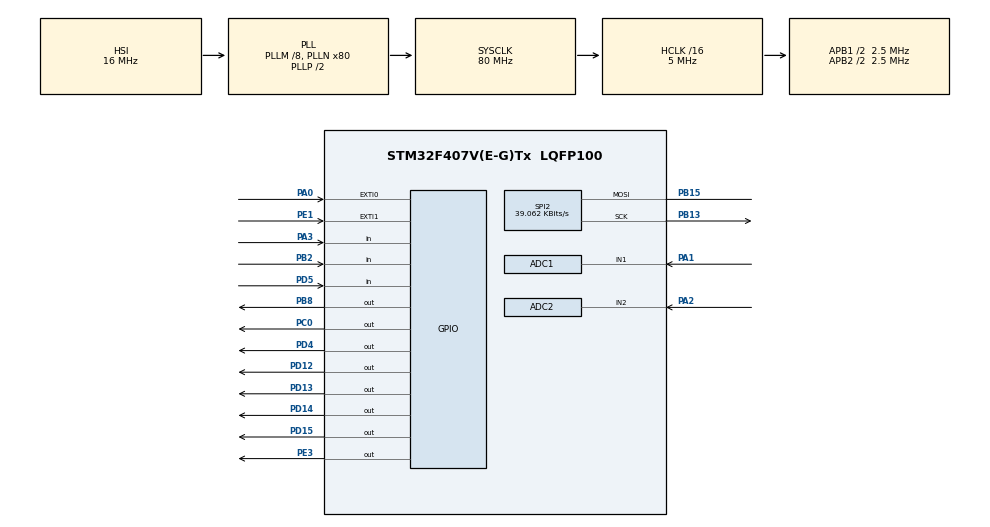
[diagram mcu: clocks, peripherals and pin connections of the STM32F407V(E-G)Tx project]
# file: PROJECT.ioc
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ADC1.Channel-0\#ChannelRegularConversion=ADC_CHANNEL_1
ADC1.NbrOfConversionFlag=1
ADC1.Rank-0\#ChannelRegularConversion=1
ADC1.SamplingTime-0\#ChannelRegularConversion=ADC_SAMPLETIME_3CYCLES
ADC1.master=1
ADC2.Channel-0\#ChannelRegularConversion=ADC_CHANNEL_2
ADC2.NbrOfConversionFlag=1
ADC2.Rank-0\#ChannelRegularConversion=1
ADC2.SamplingTime-0\#ChannelRegularConversion=ADC_SAMPLETIME_3CYCLES
Mcu.Family=STM32F4
Mcu.Name=STM32F407V(E-G)Tx
Mcu.Package=LQFP100
NVIC.PriorityGroup=NVIC_PRIORITYGROUP_0
PA0-WKUP.GPIO_ModeDefaultEXTI=GPIO_MODE_IT_RISING
PA0-WKUP.GPIO_PuPd=GPIO_NOPULL
PA0-WKUP.Signal=GPXTI0
PA1.Signal=ADCx_IN1
PA10.GPIO_Mode=GPIO_MODE_AF_PP
PA10.GPIO_PuPd=GPIO_NOPULL
PA10.GPIO_Speed=GPIO_SPEED_FREQ_VERY_HIGH
PA10.Signal=USB_OTG_FS_ID
PA11.GPIO_Mode=GPIO_MODE_AF_PP
PA11.GPIO_PuPd=GPIO_NOPULL
PA11.GPIO_Speed=GPIO_SPEED_FREQ_VERY_HIGH
PA11.Signal=USB_OTG_FS_DM
PA12.GPIO_Mode=GPIO_MODE_AF_PP
PA12.GPIO_PuPd=GPIO_NOPULL
PA12.GPIO_Speed=GPIO_SPEED_FREQ_VERY_HIGH
PA12.Signal=USB_OTG_FS_DP
PA13.Signal=SYS_JTMS-SWDIO
PA14.Signal=SYS_JTCK-SWCLK
PA2.Signal=ADCx_IN2
PA3.Signal=GPIO_Input
PA4.GPIO_Mode=GPIO_MODE_AF_PP
PA4.GPIO_PuPd=GPIO_NOPULL
PA4.GPIO_Speed=GPIO_SPEED_FREQ_LOW
PA4.Signal=I2S3_WS
PA5.GPIO_Mode=GPIO_MODE_AF_PP
PA5.GPIO_PuPd=GPIO_NOPULL
PA5.GPIO_Speed=GPIO_SPEED_FREQ_VERY_HIGH
PA5.Signal=SPI1_SCK
PA9.GPIO_Mode=GPIO_MODE_INPUT
PA9.GPIO_PuPd=GPIO_NOPULL
PA9.Signal=USB_OTG_FS_VBUS
PB10.GPIO_Mode=GPIO_MODE_AF_PP
PB10.GPIO_PuPd=GPIO_NOPULL
PB10.GPIO_Speed=GPIO_SPEED_FREQ_LOW
PB10.Signal=I2S2_CK
PB13.GPIO_Mode=GPIO_MODE_AF_PP
PB13.GPIO_PuPd=GPIO_PULLUP
PB13.GPIO_Speed=GPIO_SPEED_FREQ_VERY_HIGH
PB13.Mode=Simplex_Bidirectional_Master
PB13.Signal=SPI2_SCK
PB14.Signal=TIM8_CH2N
PB15.GPIO_Mode=GPIO_MODE_AF_PP
PB15.GPIO_PuPd=GPIO_PULLUP
PB15.GPIO_Speed=GPIO_SPEED_FREQ_VERY_HIGH
PB15.Mode=Simplex_Bidirectional_Master
PB15.Signal=SPI2_MOSI
PB2.GPIO_Mode=GPIO_MODE_INPUT
PB2.GPIO_PuPd=GPIO_NOPULL
PB2.Signal=GPIO_Input
PB3.Signal=SYS_JTDO-SWO
PB6.GPIO_Mode=GPIO_MODE_AF_OD
PB6.GPIO_PuPd=GPIO_NOPULL
PB6.GPIO_PuPdOD=GPIO_PULLUP
PB6.GPIO_Speed=GPIO_SPEED_FREQ_VERY_HIGH
PB6.Signal=I2C1_SCL
PB8.GPIO_ModeDefaultOutputPP=GPIO_MODE_OUTPUT_PP
PB8.GPIO_PuPd=GPIO_NOPULL
PB8.GPIO_Speed=GPIO_SPEED_FREQ_LOW
PB8.PinState=GPIO_PIN_RESET
PB8.Signal=GPIO_Output
PB9.GPIO_Mode=GPIO_MODE_AF_OD
PB9.GPIO_PuPd=GPIO_NOPULL
PB9.GPIO_PuPdOD=GPIO_PULLUP
PB9.GPIO_Speed=GPIO_SPEED_FREQ_VERY_HIGH
PB9.Signal=I2C1_SDA
PC0.GPIO_ModeDefaultOutputPP=GPIO_MODE_OUTPUT_PP
PC0.GPIO_PuPd=GPIO_NOPULL
PC0.GPIO_Speed=GPIO_SPEED_FREQ_LOW
PC0.PinState=GPIO_PIN_RESET
PC0.Signal=GPIO_Output
PC10.GPIO_Mode=GPIO_MODE_AF_PP
PC10.GPIO_PuPd=GPIO_NOPULL
PC10.GPIO_Speed=GPIO_SPEED_FREQ_LOW
PC10.Signal=I2S3_CK
PC12.GPIO_Mode=GPIO_MODE_AF_PP
PC12.GPIO_PuPd=GPIO_NOPULL
PC12.GPIO_Speed=GPIO_SPEED_FREQ_LOW
PC12.Signal=I2S3_SD
PC14-OSC32_IN.Signal=RCC_OSC32_IN
PC15-OSC32_OUT.Signal=RCC_OSC32_OUT
PC3.GPIO_Mode=GPIO_MODE_AF_PP
PC3.GPIO_PuPd=GPIO_NOPULL
PC3.GPIO_Speed=GPIO_SPEED_FREQ_LOW
PC3.Signal=I2S2_SD
PC7.GPIO_Mode=GPIO_MODE_AF_PP
PC7.GPIO_PuPd=GPIO_NOPULL
PC7.GPIO_Speed=GPIO_SPEED_FREQ_LOW
PC7.Signal=I2S3_MCK
PD12.GPIO_ModeDefaultOutputPP=GPIO_MODE_OUTPUT_PP
PD12.GPIO_PuPd=GPIO_NOPULL
PD12.GPIO_Speed=GPIO_SPEED_FREQ_LOW
PD12.PinState=GPIO_PIN_RESET
PD12.Signal=GPIO_Output
PD13.GPIO_ModeDefaultOutputPP=GPIO_MODE_OUTPUT_PP
PD13.GPIO_PuPd=GPIO_NOPULL
PD13.GPIO_Speed=GPIO_SPEED_FREQ_LOW
PD13.PinState=GPIO_PIN_RESET
PD13.Signal=GPIO_Output
PD14.GPIO_ModeDefaultOutputPP=GPIO_MODE_OUTPUT_PP
PD14.GPIO_PuPd=GPIO_NOPULL
PD14.GPIO_Speed=GPIO_SPEED_FREQ_LOW
PD14.PinState=GPIO_PIN_RESET
PD14.Signal=GPIO_Output
PD15.GPIO_ModeDefaultOutputPP=GPIO_MODE_OUTPUT_PP
PD15.GPIO_PuPd=GPIO_NOPULL
PD15.GPIO_Speed=GPIO_SPEED_FREQ_LOW
PD15.PinState=GPIO_PIN_RESET
PD15.Signal=GPIO_Output
PD4.GPIO_ModeDefaultOutputPP=GPIO_MODE_OUTPUT_PP
PD4.GPIO_PuPd=GPIO_NOPULL
PD4.GPIO_Speed=GPIO_SPEED_FREQ_LOW
PD4.PinState=GPIO_PIN_RESET
PD4.Signal=GPIO_Output
PD5.GPIO_Mode=GPIO_MODE_INPUT
PD5.GPIO_PuPd=GPIO_NOPULL
PD5.Signal=GPIO_Input
PE1.GPIO_ModeDefaultEXTI=GPIO_MODE_IT_RISING
PE1.GPIO_PuPd=GPIO_NOPULL
PE1.Signal=GPXTI1
PE3.GPIO_ModeDefaultOutputPP=GPIO_MODE_OUTPUT_PP
PE3.GPIO_PuPd=GPIO_NOPULL
PE3.GPIO_Speed=GPIO_SPEED_FREQ_LOW
PE3.PinState=GPIO_PIN_RESET
PE3.Signal=GPIO_Output
PH0-OSC_IN.Signal=RCC_OSC_IN
PH1-OSC_OUT.Signal=RCC_OSC_OUT
ProjectManager.HeapSize=0x200
ProjectManager.StackSize=0x400
ProjectManager.TargetToolchain=SW4STM32
RCC.48MHZClocksFreq_Value=22857142.85714286
RCC.AHBCLKDivider=RCC_SYSCLK_DIV16
RCC.AHBFreq_Value=5000000
RCC.APB1CLKDivider=RCC_HCLK_DIV2
RCC.APB1Freq_Value=2500000
RCC.APB1TimFreq_Value=5000000
RCC.APB2CLKDivider=RCC_HCLK_DIV2
RCC.APB2Freq_Value=2500000
RCC.APB2TimFreq_Value=5000000
RCC.CortexFreq_Value=5000000
RCC.HCLKFreq_Value=5000000
RCC.HSE_VALUE=8000000
RCC.HSI_VALUE=16000000
RCC.LSE_VALUE=32768
RCC.PLLM=8
RCC.PLLN=80
RCC.PLLQ=7
RCC.SYSCLKFreq_VALUE=80000000
RCC.SYSCLKSource=RCC_SYSCLKSOURCE_PLLCLK
RCC.VCOOutputFreq_Value=160000000
SH.ADCx_IN1.0=ADC1_IN1,IN1
SH.ADCx_IN2.0=ADC2_IN2,IN2
SPI2.BaudRatePrescaler=SPI_BAUDRATEPRESCALER_64
SPI2.CLKPhase=SPI_PHASE_1EDGE
SPI2.CLKPolarity=SPI_POLARITY_LOW
SPI2.CalculateBaudRate=39.062 KBits/s
SPI2.DataSize=SPI_DATASIZE_8BIT
SPI2.Direction=SPI_DIRECTION_1LINE
SPI2.FirstBit=SPI_FIRSTBIT_MSB
SPI2.Mode=SPI_MODE_MASTER
SPI2.VirtualType=VM_MASTER
board=STM32F4DISCOVERY

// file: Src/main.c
/**
  ******************************************************************************
  * @file           : main.c
  * @brief          : Main program body
  ******************************************************************************
  ** This notice applies to any and all portions of this file
  * that are not between comment pairs USER CODE BEGIN and
  * USER CODE END. Other portions of this file, whether
  * inserted by the user or by software development tools
  * are owned by their respective copyright owners.
  *
  * COPYRIGHT(c) 2018 STMicroelectronics
  *
  * Redistribution and use in source and binary forms, with or without modification,
  * are permitted provided that the following conditions are met:
  *   1. Redistributions of source code must retain the above copyright notice,
  *      this list of conditions and the following disclaimer.
  *   2. Redistributions in binary form must reproduce the above copyright notice,
  *      this list of conditions and the following disclaimer in the documentation
  *      and/or other materials provided with the distribution.
  *   3. Neither the name of STMicroelectronics nor the names of its contributors
  *      may be used to endorse or promote products derived from this software
  *      without specific prior written permission.
  *
  * THIS SOFTWARE IS PROVIDED BY THE COPYRIGHT HOLDERS AND CONTRIBUTORS "AS IS"
  * AND ANY EXPRESS OR IMPLIED WARRANTIES, INCLUDING, BUT NOT LIMITED TO, THE
  * IMPLIED WARRANTIES OF MERCHANTABILITY AND FITNESS FOR A PARTICULAR PURPOSE ARE
  * DISCLAIMED. IN NO EVENT SHALL THE COPYRIGHT HOLDER OR CONTRIBUTORS BE LIABLE
  * FOR ANY DIRECT, INDIRECT, INCIDENTAL, SPECIAL, EXEMPLARY, OR CONSEQUENTIAL
  * DAMAGES (INCLUDING, BUT NOT LIMITED TO, PROCUREMENT OF SUBSTITUTE GOODS OR
  * SERVICES; LOSS OF USE, DATA, OR PROFITS; OR BUSINESS INTERRUPTION) HOWEVER
  * CAUSED AND ON ANY THEORY OF LIABILITY, WHETHER IN CONTRACT, STRICT LIABILITY,
  * OR TORT (INCLUDING NEGLIGENCE OR OTHERWISE) ARISING IN ANY WAY OUT OF THE USE
  * OF THIS SOFTWARE, EVEN IF ADVISED OF THE POSSIBILITY OF SUCH DAMAGE.
  *
  ******************************************************************************
  */
#include "main.h"
#include "stm32f4xx_hal.h"

ADC_HandleTypeDef hadc1;
ADC_HandleTypeDef hadc2;

SPI_HandleTypeDef hspi2;

/* USER CODE BEGIN PV */
/* Private variables ---------------------------------------------------------*/
uint32_t adcX, adcY;
/* USER CODE END PV */

void SystemClock_Config(void);
static void MX_GPIO_Init(void);
static void MX_SPI2_Init(void);
static void MX_ADC1_Init(void);
static void MX_ADC2_Init(void);

/* USER CODE BEGIN PFP */
/* Private function prototypes -----------------------------------------------*/

/* USER CODE END PFP */

/* USER CODE BEGIN 0 */
void slr_init(){
    uint8_t slr_reg1[2] = {0x0B, 0x07};
    HAL_GPIO_WritePin(GPIOB,GPIO_PIN_8,GPIO_PIN_RESET);
    HAL_SPI_Transmit(&hspi2,slr_reg1,2,100);
	for(int i = 0; i < 50; i++){} // 50 microsegundos
    HAL_GPIO_WritePin(GPIOB,GPIO_PIN_8,GPIO_PIN_SET);
}

void intensity_init()
{
    uint8_t intensity_reg1[2] = {0x05,0x0F};
    HAL_GPIO_WritePin(GPIOB,GPIO_PIN_8,GPIO_PIN_RESET);
    HAL_SPI_Transmit(&hspi2,intensity_reg1,2,100);
	for(int i = 0; i < 50; i++){} // 50 microsegundos
    HAL_GPIO_WritePin(GPIOB,GPIO_PIN_8,GPIO_PIN_SET);
}

void decode_init(){
    uint8_t decode_reg1[2] = {0x09, 0x00};
    HAL_GPIO_WritePin(GPIOB,GPIO_PIN_8,GPIO_PIN_RESET);
    HAL_SPI_Transmit(&hspi2,decode_reg1,2,100);
	for(int i = 0; i < 50; i++){} // 50 microsegundos
    HAL_GPIO_WritePin(GPIOB,GPIO_PIN_8,GPIO_PIN_SET);
}

void shutdown_init(){
    uint8_t shutdown_reg1[2] = {0x0C, 0x01};
    HAL_GPIO_WritePin(GPIOB,GPIO_PIN_8,GPIO_PIN_RESET);
    HAL_SPI_Transmit(&hspi2,shutdown_reg1,2,100);
	for(int i = 0; i < 50; i++){} // 50 microsegundos
    HAL_GPIO_WritePin(GPIOB,GPIO_PIN_8,GPIO_PIN_SET);
}

void spi_init()
{
	shutdown_init();
	slr_init();
	intensity_init();
	decode_init();
}

void transmit(uint8_t column, uint8_t data){
    uint8_t data_string [2]= {column,data};
    HAL_GPIO_WritePin(GPIOB,GPIO_PIN_8,GPIO_PIN_RESET);
    HAL_SPI_Transmit(&hspi2,data_string,2,100);
    for(int i = 0; i < 50; i++){} // 50 microsegundos
    HAL_GPIO_WritePin(GPIOB,GPIO_PIN_8,GPIO_PIN_SET);
}

void display_array_image(const uint8_t data[]){
    const int MAX_DIGITS = 8;
   // uint8_t column;
//    for (uint8_t i = 0x00; i < MAX_DIGITS; i++){
//        switch (i){
//            case 0: column=0x01;break;
//            case 1: column=0x02;break;
//            case 2: column=0x03;break;
//            case 3: column=0x04;break;
//            case 4: column=0x05;break;
//            case 5: column=0x06;break;
//            case 6: column=0x07;break;
//            case 7: column=0x08;break;
//            default: column=0x00;break;
//        }
    for(int j = 0; j < MAX_DIGITS; j++){
        transmit(j+1,data[j]);
    }
}

void block_space(int spaces[3][3], int x, int y)
{
	spaces[x][y] = 1;
}

void apply_move(uint8_t *src, uint8_t *dest)
{
	const int MAX_LED = 8;
	for (int i = 0; i < MAX_LED; i++)
	{
		dest[i] += src[i];
	}

	return;
}

void rest_at(uint8_t * cur_move, int * x, int * y, int player)
{
	for(int i = 0; i < 8; i++)
	{
		cur_move[i] = 0;
	}

	uint8_t piece[2] = {0};
	switch (player)
	{
	case -1: piece[0] = 0x01 << 3**y;
			piece[1] = 0x02 << 3**y;
			break;
	case 1:
			piece[0] = 0x02 << 3**y;
			piece[1] = 0x01 << 3**y;
			break;
	}

	switch (*x)
	{
	case 0: cur_move[0] = piece[0];
			cur_move[1] = piece[1];
			return;
	case 1: cur_move[3] = piece[0];
			cur_move[4] = piece[1];
			return;
	case 2: cur_move[6] = piece[0];
			cur_move[7] = piece[1];
			return;
	}
}

void move(char dir, uint8_t * cur_move, uint8_t * board, int * cur_x, int * cur_y, int turn)
{
	switch(dir)
	{
	case 'u': if(*cur_y != 0){*cur_y -= 1;};
			  break;
	case 'd': if(*cur_y != 2){*cur_y += 1;};
	  	  	  break;
	case 'l': if(*cur_x != 0){*cur_x -= 1;};
  	  	  	  break;
	case 'r': if(*cur_x != 2){*cur_x += 1;};
	  	  	  break;
	}
	rest_at(cur_move, cur_x, cur_y, turn);
	draw(cur_move, board);
}

void clear_screen()
{
	const uint8_t clearData[8] = {0x00,0x00,0x00,0x00,0x00,0x00,0x00,0x00};
	display_array_image(clearData);
}

void flash_once(){
    transmit(0x0C,0x00);
    //  HAL_Delay(10);
    HAL_Delay(1);
    transmit(0x0C,0X01);
    HAL_Delay(100);
    transmit(0x09,0x00);
    transmit(0x0B,0x07);

}

void set_board(uint8_t * move, uint8_t * board)
{
	uint8_t temp[8] = {0};

		// for each column, add the row data and board data
		for(int i = 0; i < 0x08; i++)
		{
			temp[i] = move[i] + board[i];
		}

	memcpy(board, &temp, 8);
}

void draw(uint8_t * move, uint8_t * board)
{
	uint8_t temp[8] = {0};

	// for each column, add the row data and board data
	for(int i = 0; i < 0x08; i++)
	{
		temp[i] = move[i] + board[i];
	}

	display_array_image(temp);
}

void update_board_spaces(int spaces[9], uint8_t * board)
{
	// reset board for fresh copy from spaces
	uint8_t empty_board[8] = {0};
	memcpy(board, &empty_board, 8);

	uint8_t cur_move[8] = {0};
	for (int i = 0; i < 9; i++)
	{ // player is -1, comp is 1, empty is 0
			int x = i % 3;
			int y = div(i, 3);
		if(spaces[i] == -1)
		{
			// figure out math for which two numbers to change moves
			rest_at(&cur_move, &x, &y, -1);
			set_board(&cur_move, &board);
		}
		else if (spaces[i] == 1)
		{
			// same as above
			rest_at(&cur_move, &x, &y, 1);
			set_board(&cur_move, &board);
		}
		// else don't do anything of course

	}
}

int win(const int board[9]) {
    //determines if a player has won, returns 0 otherwise.
    unsigned wins[8][3] = {{0,1,2},{3,4,5},{6,7,8},{0,3,6},{1,4,7},{2,5,8},{0,4,8},{2,4,6}};
    int i;
    for(i = 0; i < 8; ++i) {
        if(board[wins[i][0]] != 0 &&
           board[wins[i][0]] == board[wins[i][1]] &&
           board[wins[i][0]] == board[wins[i][2]])
            return board[wins[i][2]];
    }
    return 0;
}
/* USER CODE END 0 */

int main(void)
{

  /* MCU Configuration----------------------------------------------------------*/

  /* Reset of all peripherals, Initializes the Flash interface and the Systick. */
  HAL_Init();

  /* Configure the system clock */
  SystemClock_Config();

  /* Initialize all configured peripherals */
  MX_GPIO_Init();
  MX_SPI2_Init();
  MX_ADC1_Init();
  MX_ADC2_Init();
  /* USER CODE BEGIN 2 */

  spi_init();
  int spaces[9] = {0};
  int player = -1;
  int gameWon = 0;
  uint8_t board[8] = {0x24, 0x24, 0xFF, 0x24, 0x24, 0xFF, 0x24, 0x24};
  uint8_t cur_move[8] = {0};
  int cur_x = 0;
  int cur_y = 0;
  	//display_image_array(temp_board);

  	//simulate a player's turn for now
  	rest_at(&cur_move, &cur_x, &cur_y, player); // begin at begining
  	draw(&cur_move, &board);
  /* USER CODE END 2 */

  /* Infinite loop */
  /* USER CODE BEGIN WHILE */
  while (1)
  {
	  if (!gameWon)
	  {
		  HAL_ADC_Start(&hadc1);
		  HAL_ADC_PollForConversion(&hadc1,1);
		  adcY=(HAL_ADC_GetValue(&hadc1)/500);
		  HAL_ADC_Stop(&hadc1);
		  HAL_Delay (1);

		  HAL_ADC_Start(&hadc2);
		  HAL_ADC_PollForConversion(&hadc2,1);
		  adcX=(HAL_ADC_GetValue(&hadc2)/500);
		  HAL_ADC_Stop(&hadc2);
		  HAL_Delay (1);

		  int deadzone[2] = {1,7};
		  // if in deadzone
		  if (adcY >= deadzone[0] && adcY <= deadzone[1])
		  {
			  // is in deadzone, don't do anything.
		  }

		  // if up
		  if (adcY > deadzone[1])
		  {
			  // move down once space
			  move('d',&cur_move,&board,&cur_x,&cur_y,player);
			  HAL_Delay(175);

		  }

		  // if down
		  if (adcY < deadzone[0])
		  {
			  // move up once space
			  move('u',&cur_move,&board,&cur_x,&cur_y,player);
			  HAL_Delay(175);
		  }

		  if (adcX >= deadzone[0] && adcX <= deadzone[1])
		  {
			  // is in deadzone, don't do anything.
		  }

		  // if left
		  if (adcX < deadzone[0])
		  {
			  // move left one space
			  move('l',&cur_move,&board,&cur_x,&cur_y,player);
			  HAL_Delay(175);
		  }

		  // if right
		  if (adcX > deadzone[1])
		  {
			  // move right once space
			  move('r',&cur_move,&board,&cur_x,&cur_y,player);
			  HAL_Delay(175);
		  }

		  // when l3 click
		  int buttonIsDown = HAL_GPIO_ReadPin(GPIOA,GPIO_PIN_3);
		  if(buttonIsDown)
		  {
			  if (spaces[cur_x + 3*cur_y] == 0)
			  {
				  set_board(&cur_move, &board);
				  spaces[cur_x + 3*cur_y] = player;
				  player = player * -1;
				  rest_at(&cur_move, &cur_x, &cur_y, player); // begin at begining
				  draw(&cur_move, &board);
			  }
			  HAL_Delay(300);
		  }
		  int winner = win(spaces);
		  if (winner != 0)
		  {
			  // someone has won!
			  if (winner == -1)
			  {
				  // computer won
				  uint8_t tempBoard[8] = {0x00,0x06,0x06,0x00,0x00,0x60,0x60,0x00};
				  memcpy(&board, &tempBoard, 8);
				  gameWon = 1;
			  }
			  else
			  {
				  // player won
				  uint8_t tempBoard[8] = {0x00,0x60,0x60,0x00,0x00,0x06,0x06,0x00};
				  memcpy(&board, &tempBoard, 8);
				  gameWon = 1;
			  }
		  }
		  else // only actually draw the real board if there is no winner yet
			  draw(&cur_move, &board);
	  }
	  else
		  display_array_image(board);

  /* USER CODE END WHILE */

  }

}

void SystemClock_Config(void)
{

  RCC_OscInitTypeDef RCC_OscInitStruct;
  RCC_ClkInitTypeDef RCC_ClkInitStruct;

    /**Configure the main internal regulator output voltage
    */
  __HAL_RCC_PWR_CLK_ENABLE();

  __HAL_PWR_VOLTAGESCALING_CONFIG(PWR_REGULATOR_VOLTAGE_SCALE1);

    /**Initializes the CPU, AHB and APB busses clocks
    */
  RCC_OscInitStruct.OscillatorType = RCC_OSCILLATORTYPE_HSI;
  RCC_OscInitStruct.HSIState = RCC_HSI_ON;
  RCC_OscInitStruct.HSICalibrationValue = 16;
  RCC_OscInitStruct.PLL.PLLState = RCC_PLL_ON;
  RCC_OscInitStruct.PLL.PLLSource = RCC_PLLSOURCE_HSI;
  RCC_OscInitStruct.PLL.PLLM = 8;
  RCC_OscInitStruct.PLL.PLLN = 80;
  RCC_OscInitStruct.PLL.PLLP = RCC_PLLP_DIV2;
  RCC_OscInitStruct.PLL.PLLQ = 7;
  if (HAL_RCC_OscConfig(&RCC_OscInitStruct) != HAL_OK)
  {
    _Error_Handler(__FILE__, __LINE__);
  }

    /**Initializes the CPU, AHB and APB busses clocks
    */
  RCC_ClkInitStruct.ClockType = RCC_CLOCKTYPE_HCLK|RCC_CLOCKTYPE_SYSCLK
                              |RCC_CLOCKTYPE_PCLK1|RCC_CLOCKTYPE_PCLK2;
  RCC_ClkInitStruct.SYSCLKSource = RCC_SYSCLKSOURCE_PLLCLK;
  RCC_ClkInitStruct.AHBCLKDivider = RCC_SYSCLK_DIV16;
  RCC_ClkInitStruct.APB1CLKDivider = RCC_HCLK_DIV2;
  RCC_ClkInitStruct.APB2CLKDivider = RCC_HCLK_DIV2;

  if (HAL_RCC_ClockConfig(&RCC_ClkInitStruct, FLASH_LATENCY_0) != HAL_OK)
  {
    _Error_Handler(__FILE__, __LINE__);
  }

    /**Configure the Systick interrupt time
    */
  HAL_SYSTICK_Config(HAL_RCC_GetHCLKFreq()/1000);

    /**Configure the Systick
    */
  HAL_SYSTICK_CLKSourceConfig(SYSTICK_CLKSOURCE_HCLK);

  /* SysTick_IRQn interrupt configuration */
  HAL_NVIC_SetPriority(SysTick_IRQn, 0, 0);
}

/* ADC1 init function */
static void MX_ADC1_Init(void)
{

  ADC_ChannelConfTypeDef sConfig;

    /**Configure the global features of the ADC (Clock, Resolution, Data Alignment and number of conversion)
    */
  hadc1.Instance = ADC1;
  hadc1.Init.ClockPrescaler = ADC_CLOCK_SYNC_PCLK_DIV2;
  hadc1.Init.Resolution = ADC_RESOLUTION_12B;
  hadc1.Init.ScanConvMode = DISABLE;
  hadc1.Init.ContinuousConvMode = DISABLE;
  hadc1.Init.DiscontinuousConvMode = DISABLE;
  hadc1.Init.ExternalTrigConvEdge = ADC_EXTERNALTRIGCONVEDGE_NONE;
  hadc1.Init.ExternalTrigConv = ADC_SOFTWARE_START;
  hadc1.Init.DataAlign = ADC_DATAALIGN_RIGHT;
  hadc1.Init.NbrOfConversion = 1;
  hadc1.Init.DMAContinuousRequests = DISABLE;
  hadc1.Init.EOCSelection = ADC_EOC_SINGLE_CONV;
  if (HAL_ADC_Init(&hadc1) != HAL_OK)
  {
    _Error_Handler(__FILE__, __LINE__);
  }

    /**Configure for the selected ADC regular channel its corresponding rank in the sequencer and its sample time.
    */
  sConfig.Channel = ADC_CHANNEL_1;
  sConfig.Rank = 1;
  sConfig.SamplingTime = ADC_SAMPLETIME_3CYCLES;
  if (HAL_ADC_ConfigChannel(&hadc1, &sConfig) != HAL_OK)
  {
    _Error_Handler(__FILE__, __LINE__);
  }

}

/* ADC2 init function */
static void MX_ADC2_Init(void)
{

  ADC_ChannelConfTypeDef sConfig;

    /**Configure the global features of the ADC (Clock, Resolution, Data Alignment and number of conversion)
    */
  hadc2.Instance = ADC2;
  hadc2.Init.ClockPrescaler = ADC_CLOCK_SYNC_PCLK_DIV2;
  hadc2.Init.Resolution = ADC_RESOLUTION_12B;
  hadc2.Init.ScanConvMode = DISABLE;
  hadc2.Init.ContinuousConvMode = DISABLE;
  hadc2.Init.DiscontinuousConvMode = DISABLE;
  hadc2.Init.ExternalTrigConvEdge = ADC_EXTERNALTRIGCONVEDGE_NONE;
  hadc2.Init.ExternalTrigConv = ADC_SOFTWARE_START;
  hadc2.Init.DataAlign = ADC_DATAALIGN_RIGHT;
  hadc2.Init.NbrOfConversion = 1;
  hadc2.Init.DMAContinuousRequests = DISABLE;
  hadc2.Init.EOCSelection = ADC_EOC_SINGLE_CONV;
  if (HAL_ADC_Init(&hadc2) != HAL_OK)
  {
    _Error_Handler(__FILE__, __LINE__);
  }

    /**Configure for the selected ADC regular channel its corresponding rank in the sequencer and its sample time.
    */
  sConfig.Channel = ADC_CHANNEL_2;
  sConfig.Rank = 1;
  sConfig.SamplingTime = ADC_SAMPLETIME_3CYCLES;
  if (HAL_ADC_ConfigChannel(&hadc2, &sConfig) != HAL_OK)
  {
    _Error_Handler(__FILE__, __LINE__);
  }

}

/* SPI2 init function */
static void MX_SPI2_Init(void)
{

  /* SPI2 parameter configuration*/
  hspi2.Instance = SPI2;
  hspi2.Init.Mode = SPI_MODE_MASTER;
  hspi2.Init.Direction = SPI_DIRECTION_1LINE;
  hspi2.Init.DataSize = SPI_DATASIZE_8BIT;
  hspi2.Init.CLKPolarity = SPI_POLARITY_LOW;
  hspi2.Init.CLKPhase = SPI_PHASE_1EDGE;
  hspi2.Init.NSS = SPI_NSS_SOFT;
  hspi2.Init.BaudRatePrescaler = SPI_BAUDRATEPRESCALER_64;
  hspi2.Init.FirstBit = SPI_FIRSTBIT_MSB;
  hspi2.Init.TIMode = SPI_TIMODE_DISABLE;
  hspi2.Init.CRCCalculation = SPI_CRCCALCULATION_DISABLE;
  hspi2.Init.CRCPolynomial = 10;
  if (HAL_SPI_Init(&hspi2) != HAL_OK)
  {
    _Error_Handler(__FILE__, __LINE__);
  }

}

/** Configure pins as
        * Analog
        * Input
        * Output
        * EVENT_OUT
        * EXTI
     PC3   ------> I2S2_SD
     PA4   ------> I2S3_WS
     PA5   ------> SPI1_SCK
     PB10   ------> I2S2_CK
     PB14   ------> TIM8_CH2N
     PC7   ------> I2S3_MCK
     PA9   ------> USB_OTG_FS_VBUS
     PA10   ------> USB_OTG_FS_ID
     PA11   ------> USB_OTG_FS_DM
     PA12   ------> USB_OTG_FS_DP
     PC10   ------> I2S3_CK
     PC12   ------> I2S3_SD
     PB6   ------> I2C1_SCL
     PB9   ------> I2C1_SDA
*/
static void MX_GPIO_Init(void)
{

  GPIO_InitTypeDef GPIO_InitStruct;

  /* GPIO Ports Clock Enable */
  __HAL_RCC_GPIOE_CLK_ENABLE();
  __HAL_RCC_GPIOC_CLK_ENABLE();
  __HAL_RCC_GPIOH_CLK_ENABLE();
  __HAL_RCC_GPIOA_CLK_ENABLE();
  __HAL_RCC_GPIOB_CLK_ENABLE();
  __HAL_RCC_GPIOD_CLK_ENABLE();

  /*Configure GPIO pin Output Level */
  HAL_GPIO_WritePin(GPIOE, GPIO_PIN_3, GPIO_PIN_RESET);

  /*Configure GPIO pin Output Level */
  HAL_GPIO_WritePin(GPIOC, GPIO_PIN_0, GPIO_PIN_RESET);

  /*Configure GPIO pin Output Level */
  HAL_GPIO_WritePin(GPIOD, GPIO_PIN_12|GPIO_PIN_13|GPIO_PIN_14|GPIO_PIN_15
                          |GPIO_PIN_4, GPIO_PIN_RESET);

  /*Configure GPIO pin Output Level */
  HAL_GPIO_WritePin(GPIOB, GPIO_PIN_8, GPIO_PIN_RESET);

  /*Configure GPIO pin : PE3 */
  GPIO_InitStruct.Pin = GPIO_PIN_3;
  GPIO_InitStruct.Mode = GPIO_MODE_OUTPUT_PP;
  GPIO_InitStruct.Pull = GPIO_NOPULL;
  GPIO_InitStruct.Speed = GPIO_SPEED_FREQ_LOW;
  HAL_GPIO_Init(GPIOE, &GPIO_InitStruct);

  /*Configure GPIO pin : PC0 */
  GPIO_InitStruct.Pin = GPIO_PIN_0;
  GPIO_InitStruct.Mode = GPIO_MODE_OUTPUT_PP;
  GPIO_InitStruct.Pull = GPIO_NOPULL;
  GPIO_InitStruct.Speed = GPIO_SPEED_FREQ_LOW;
  HAL_GPIO_Init(GPIOC, &GPIO_InitStruct);

  /*Configure GPIO pin : PC3 */
  GPIO_InitStruct.Pin = GPIO_PIN_3;
  GPIO_InitStruct.Mode = GPIO_MODE_AF_PP;
  GPIO_InitStruct.Pull = GPIO_NOPULL;
  GPIO_InitStruct.Speed = GPIO_SPEED_FREQ_LOW;
  GPIO_InitStruct.Alternate = GPIO_AF5_SPI2;
  HAL_GPIO_Init(GPIOC, &GPIO_InitStruct);

  /*Configure GPIO pin : PA0 */
  GPIO_InitStruct.Pin = GPIO_PIN_0;
  GPIO_InitStruct.Mode = GPIO_MODE_IT_RISING;
  GPIO_InitStruct.Pull = GPIO_NOPULL;
  HAL_GPIO_Init(GPIOA, &GPIO_InitStruct);

  /*Configure GPIO pin : PA3 */
  GPIO_InitStruct.Pin = GPIO_PIN_3;
  GPIO_InitStruct.Mode = GPIO_MODE_INPUT;
  GPIO_InitStruct.Pull = GPIO_PULLDOWN;
  HAL_GPIO_Init(GPIOA, &GPIO_InitStruct);

  /*Configure GPIO pin : PA4 */
  GPIO_InitStruct.Pin = GPIO_PIN_4;
  GPIO_InitStruct.Mode = GPIO_MODE_AF_PP;
  GPIO_InitStruct.Pull = GPIO_NOPULL;
  GPIO_InitStruct.Speed = GPIO_SPEED_FREQ_LOW;
  GPIO_InitStruct.Alternate = GPIO_AF6_SPI3;
  HAL_GPIO_Init(GPIOA, &GPIO_InitStruct);

  /*Configure GPIO pin : PA5 */
  GPIO_InitStruct.Pin = GPIO_PIN_5;
  GPIO_InitStruct.Mode = GPIO_MODE_AF_PP;
  GPIO_InitStruct.Pull = GPIO_NOPULL;
  GPIO_InitStruct.Speed = GPIO_SPEED_FREQ_VERY_HIGH;
  GPIO_InitStruct.Alternate = GPIO_AF5_SPI1;
  HAL_GPIO_Init(GPIOA, &GPIO_InitStruct);

  /*Configure GPIO pin : PB2 */
  GPIO_InitStruct.Pin = GPIO_PIN_2;
  GPIO_InitStruct.Mode = GPIO_MODE_INPUT;
  GPIO_InitStruct.Pull = GPIO_NOPULL;
  HAL_GPIO_Init(GPIOB, &GPIO_InitStruct);

  /*Configure GPIO pin : PB10 */
  GPIO_InitStruct.Pin = GPIO_PIN_10;
  GPIO_InitStruct.Mode = GPIO_MODE_AF_PP;
  GPIO_InitStruct.Pull = GPIO_NOPULL;
  GPIO_InitStruct.Speed = GPIO_SPEED_FREQ_LOW;
  GPIO_InitStruct.Alternate = GPIO_AF5_SPI2;
  HAL_GPIO_Init(GPIOB, &GPIO_InitStruct);

  /*Configure GPIO pin : PB14 */
  GPIO_InitStruct.Pin = GPIO_PIN_14;
  GPIO_InitStruct.Mode = GPIO_MODE_AF_PP;
  GPIO_InitStruct.Pull = GPIO_NOPULL;
  GPIO_InitStruct.Speed = GPIO_SPEED_FREQ_LOW;
  GPIO_InitStruct.Alternate = GPIO_AF3_TIM8;
  HAL_GPIO_Init(GPIOB, &GPIO_InitStruct);

  /*Configure GPIO pins : PD12 PD13 PD14 PD15
                           PD4 */
  GPIO_InitStruct.Pin = GPIO_PIN_12|GPIO_PIN_13|GPIO_PIN_14|GPIO_PIN_15
                          |GPIO_PIN_4;
  GPIO_InitStruct.Mode = GPIO_MODE_OUTPUT_PP;
  GPIO_InitStruct.Pull = GPIO_NOPULL;
  GPIO_InitStruct.Speed = GPIO_SPEED_FREQ_LOW;
  HAL_GPIO_Init(GPIOD, &GPIO_InitStruct);

  /*Configure GPIO pins : PC7 PC10 PC12 */
  GPIO_InitStruct.Pin = GPIO_PIN_7|GPIO_PIN_10|GPIO_PIN_12;
  GPIO_InitStruct.Mode = GPIO_MODE_AF_PP;
  GPIO_InitStruct.Pull = GPIO_NOPULL;
  GPIO_InitStruct.Speed = GPIO_SPEED_FREQ_LOW;
  GPIO_InitStruct.Alternate = GPIO_AF6_SPI3;
  HAL_GPIO_Init(GPIOC, &GPIO_InitStruct);

  /*Configure GPIO pin : PA9 */
  GPIO_InitStruct.Pin = GPIO_PIN_9;
  GPIO_InitStruct.Mode = GPIO_MODE_INPUT;
  GPIO_InitStruct.Pull = GPIO_NOPULL;
  HAL_GPIO_Init(GPIOA, &GPIO_InitStruct);

  /*Configure GPIO pins : PA10 PA11 PA12 */
  GPIO_InitStruct.Pin = GPIO_PIN_10|GPIO_PIN_11|GPIO_PIN_12;
  GPIO_InitStruct.Mode = GPIO_MODE_AF_PP;
  GPIO_InitStruct.Pull = GPIO_NOPULL;
  GPIO_InitStruct.Speed = GPIO_SPEED_FREQ_VERY_HIGH;
  GPIO_InitStruct.Alternate = GPIO_AF10_OTG_FS;
  HAL_GPIO_Init(GPIOA, &GPIO_InitStruct);

  /*Configure GPIO pin : PD5 */
  GPIO_InitStruct.Pin = GPIO_PIN_5;
  GPIO_InitStruct.Mode = GPIO_MODE_INPUT;
  GPIO_InitStruct.Pull = GPIO_NOPULL;
  HAL_GPIO_Init(GPIOD, &GPIO_InitStruct);

  /*Configure GPIO pins : PB6 PB9 */
  GPIO_InitStruct.Pin = GPIO_PIN_6|GPIO_PIN_9;
  GPIO_InitStruct.Mode = GPIO_MODE_AF_OD;
  GPIO_InitStruct.Pull = GPIO_PULLUP;
  GPIO_InitStruct.Speed = GPIO_SPEED_FREQ_VERY_HIGH;
  GPIO_InitStruct.Alternate = GPIO_AF4_I2C1;
  HAL_GPIO_Init(GPIOB, &GPIO_InitStruct);

  /*Configure GPIO pin : PB8 */
  GPIO_InitStruct.Pin = GPIO_PIN_8;
  GPIO_InitStruct.Mode = GPIO_MODE_OUTPUT_PP;
  GPIO_InitStruct.Pull = GPIO_NOPULL;
  GPIO_InitStruct.Speed = GPIO_SPEED_FREQ_LOW;
  HAL_GPIO_Init(GPIOB, &GPIO_InitStruct);

  /*Configure GPIO pin : PE1 */
  GPIO_InitStruct.Pin = GPIO_PIN_1;
  GPIO_InitStruct.Mode = GPIO_MODE_IT_RISING;
  GPIO_InitStruct.Pull = GPIO_NOPULL;
  HAL_GPIO_Init(GPIOE, &GPIO_InitStruct);

}

void _Error_Handler(char *file, int line)
{
  while(1)
  {
  }
}

/************************ (C) COPYRIGHT STMicroelectronics *****END OF FILE****/
